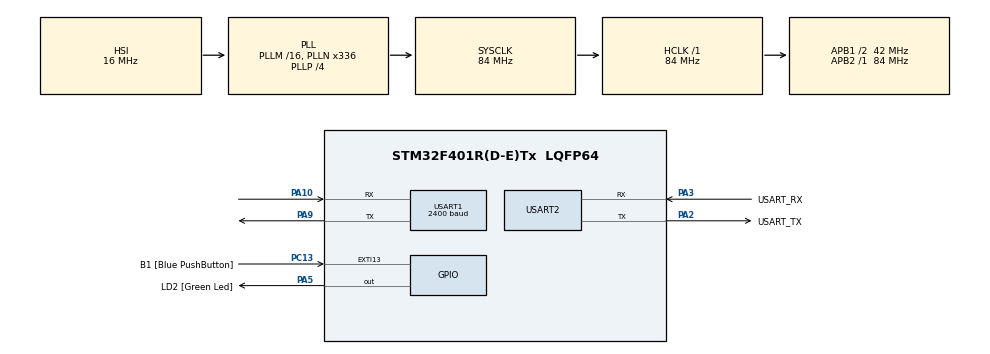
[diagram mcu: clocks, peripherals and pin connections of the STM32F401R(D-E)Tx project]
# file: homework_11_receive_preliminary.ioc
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Mcu.Family=STM32F4
Mcu.Name=STM32F401R(D-E)Tx
Mcu.Package=LQFP64
NVIC.PriorityGroup=NVIC_PRIORITYGROUP_0
NVIC.USART1_IRQn=true\:0\:0\:false\:false\:true\:true\:true\:true
NVIC.USART2_IRQn=true\:0\:0\:false\:false\:true\:true\:true\:true
PA10.Mode=Asynchronous
PA10.Signal=USART1_RX
PA13.GPIO_Label=TMS
PA13.Mode=Serial_Wire
PA13.Signal=SYS_JTMS-SWDIO
PA14.GPIO_Label=TCK
PA14.Mode=Serial_Wire
PA14.Signal=SYS_JTCK-SWCLK
PA2.GPIO_Label=USART_TX
PA2.GPIO_Mode=GPIO_MODE_AF_PP
PA2.GPIO_PuPd=GPIO_NOPULL
PA2.GPIO_Speed=GPIO_SPEED_FREQ_LOW
PA2.Mode=Asynchronous
PA2.Signal=USART2_TX
PA3.GPIO_Label=USART_RX
PA3.GPIO_Mode=GPIO_MODE_AF_PP
PA3.GPIO_PuPd=GPIO_NOPULL
PA3.GPIO_Speed=GPIO_SPEED_FREQ_LOW
PA3.Mode=Asynchronous
PA3.Signal=USART2_RX
PA5.GPIO_Label=LD2 [Green Led]
PA5.GPIO_Mode=GPIO_MODE_OUTPUT_PP
PA5.GPIO_PuPd=GPIO_NOPULL
PA5.GPIO_Speed=GPIO_SPEED_FREQ_LOW
PA5.Signal=GPIO_Output
PA9.Mode=Asynchronous
PA9.Signal=USART1_TX
PB3.GPIO_Label=SWO
PB3.Signal=SYS_JTDO-SWO
PC13-ANTI_TAMP.GPIO_Label=B1 [Blue PushButton]
PC13-ANTI_TAMP.GPIO_ModeDefaultEXTI=GPIO_MODE_IT_FALLING
PC13-ANTI_TAMP.GPIO_PuPd=GPIO_NOPULL
PC13-ANTI_TAMP.Signal=GPXTI13
PC14-OSC32_IN.Mode=LSE-External-Oscillator
PC14-OSC32_IN.Signal=RCC_OSC32_IN
PC15-OSC32_OUT.Mode=LSE-External-Oscillator
PC15-OSC32_OUT.Signal=RCC_OSC32_OUT
PH0\ -\ OSC_IN.Mode=HSE-External-Clock-Source
PH0\ -\ OSC_IN.Signal=RCC_OSC_IN
PH1\ -\ OSC_OUT.Mode=HSE-External-Clock-Source
PH1\ -\ OSC_OUT.Signal=RCC_OSC_OUT
ProjectManager.HeapSize=0x200
ProjectManager.StackSize=0x400
ProjectManager.TargetToolchain=STM32CubeIDE
RCC.48MHZClocksFreq_Value=48000000
RCC.AHBFreq_Value=84000000
RCC.APB1CLKDivider=RCC_HCLK_DIV2
RCC.APB1Freq_Value=42000000
RCC.APB1TimFreq_Value=84000000
RCC.APB2Freq_Value=84000000
RCC.APB2TimFreq_Value=84000000
RCC.CortexFreq_Value=84000000
RCC.HCLKFreq_Value=84000000
RCC.HSE_VALUE=8000000
RCC.HSI_VALUE=16000000
RCC.PLLN=336
RCC.PLLP=RCC_PLLP_DIV4
RCC.PLLQ=7
RCC.SYSCLKFreq_VALUE=84000000
RCC.SYSCLKSource=RCC_SYSCLKSOURCE_PLLCLK
RCC.VCOOutputFreq_Value=336000000
USART1.BaudRate=2400
USART1.VirtualMode=VM_ASYNC
USART2.VirtualMode=VM_ASYNC
board=NUCLEO-F401RE

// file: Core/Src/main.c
/* USER CODE BEGIN Header */
/**
  ******************************************************************************
  * @file           : main.c
  * @brief          : Main program body
  ******************************************************************************
  * @attention
  *
  * Copyright (c) 2022 STMicroelectronics.
  * All rights reserved.
  *
  * This software is licensed under terms that can be found in the LICENSE file
  * in the root directory of this software component.
  * If no LICENSE file comes with this software, it is provided AS-IS.
  *
  ******************************************************************************
  */
/* USER CODE END Header */
#include "main.h"

UART_HandleTypeDef huart1;
UART_HandleTypeDef huart2;

void SystemClock_Config(void);
static void MX_GPIO_Init(void);
static void MX_USART2_UART_Init(void);
static void MX_USART1_UART_Init(void);

/* USER CODE BEGIN 0 */
// Data, which should be received
char RX_data = 0;
// Storing the data
char command = 0;
// A flag to show if we have received data
uint8_t RX_flag = 0;

void HAL_UART_RxCpltCallback (UART_HandleTypeDef *huart) {
	// We receive the data, that the other group have transmitted
	HAL_UART_Receive_IT(&huart1, &RX_data, sizeof(RX_data));	//Change to &huart2 and use putty for step 1
	command = RX_data;
	// We acknowledge that we have received a byte form UART
	RX_flag = 1;
}
/* USER CODE END 0 */

int main(void)
{

  /* MCU Configuration--------------------------------------------------------*/

  /* Reset of all peripherals, Initializes the Flash interface and the Systick. */
  HAL_Init();

  /* Configure the system clock */
  SystemClock_Config();

  /* Initialize all configured peripherals */
  MX_GPIO_Init();
  MX_USART2_UART_Init();
  MX_USART1_UART_Init();
  /* USER CODE BEGIN 2 */
  // We start the receiving interrupt
  HAL_UART_Receive_IT(&huart1, &RX_data, sizeof(RX_data));	//Change to &huart2 and use putty for step 1
  /* USER CODE END 2 */

  /* Infinite loop */
  while (1)
  {

    /* USER CODE BEGIN 3 */
	  if(RX_flag == 1) {
		  if(command == '1') {
			  // Turn on the LED, when '1' is received
			  HAL_GPIO_WritePin(GPIOA, GPIO_PIN_5, GPIO_PIN_SET);
		  }
		  else if(command == '0') {
			  // Turn off the LED, when '0' is received
			  HAL_GPIO_WritePin(GPIOA, GPIO_PIN_5, GPIO_PIN_RESET);
		  }
		  // Send the received data
		  HAL_UART_Transmit_IT(&huart2, &command, sizeof(command));
		  // We reset the ackowledgement of the data
		  RX_flag = 0;
	  }
  }
  /* USER CODE END 3 */
}

void SystemClock_Config(void)
{
  RCC_OscInitTypeDef RCC_OscInitStruct = {0};
  RCC_ClkInitTypeDef RCC_ClkInitStruct = {0};

  /** Configure the main internal regulator output voltage
  */
  __HAL_RCC_PWR_CLK_ENABLE();
  __HAL_PWR_VOLTAGESCALING_CONFIG(PWR_REGULATOR_VOLTAGE_SCALE2);

  /** Initializes the RCC Oscillators according to the specified parameters
  * in the RCC_OscInitTypeDef structure.
  */
  RCC_OscInitStruct.OscillatorType = RCC_OSCILLATORTYPE_HSI;
  RCC_OscInitStruct.HSIState = RCC_HSI_ON;
  RCC_OscInitStruct.HSICalibrationValue = RCC_HSICALIBRATION_DEFAULT;
  RCC_OscInitStruct.PLL.PLLState = RCC_PLL_ON;
  RCC_OscInitStruct.PLL.PLLSource = RCC_PLLSOURCE_HSI;
  RCC_OscInitStruct.PLL.PLLM = 16;
  RCC_OscInitStruct.PLL.PLLN = 336;
  RCC_OscInitStruct.PLL.PLLP = RCC_PLLP_DIV4;
  RCC_OscInitStruct.PLL.PLLQ = 7;
  if (HAL_RCC_OscConfig(&RCC_OscInitStruct) != HAL_OK)
  {
    Error_Handler();
  }

  /** Initializes the CPU, AHB and APB buses clocks
  */
  RCC_ClkInitStruct.ClockType = RCC_CLOCKTYPE_HCLK|RCC_CLOCKTYPE_SYSCLK
                              |RCC_CLOCKTYPE_PCLK1|RCC_CLOCKTYPE_PCLK2;
  RCC_ClkInitStruct.SYSCLKSource = RCC_SYSCLKSOURCE_PLLCLK;
  RCC_ClkInitStruct.AHBCLKDivider = RCC_SYSCLK_DIV1;
  RCC_ClkInitStruct.APB1CLKDivider = RCC_HCLK_DIV2;
  RCC_ClkInitStruct.APB2CLKDivider = RCC_HCLK_DIV1;

  if (HAL_RCC_ClockConfig(&RCC_ClkInitStruct, FLASH_LATENCY_2) != HAL_OK)
  {
    Error_Handler();
  }
}

static void MX_USART1_UART_Init(void)
{

  huart1.Instance = USART1;
  huart1.Init.BaudRate = 2400;
  huart1.Init.WordLength = UART_WORDLENGTH_8B;
  huart1.Init.StopBits = UART_STOPBITS_1;
  huart1.Init.Parity = UART_PARITY_NONE;
  huart1.Init.Mode = UART_MODE_TX_RX;
  huart1.Init.HwFlowCtl = UART_HWCONTROL_NONE;
  huart1.Init.OverSampling = UART_OVERSAMPLING_16;
  if (HAL_UART_Init(&huart1) != HAL_OK)
  {
    Error_Handler();
  }

}

static void MX_USART2_UART_Init(void)
{

  huart2.Instance = USART2;
  huart2.Init.BaudRate = 115200;
  huart2.Init.WordLength = UART_WORDLENGTH_8B;
  huart2.Init.StopBits = UART_STOPBITS_1;
  huart2.Init.Parity = UART_PARITY_NONE;
  huart2.Init.Mode = UART_MODE_TX_RX;
  huart2.Init.HwFlowCtl = UART_HWCONTROL_NONE;
  huart2.Init.OverSampling = UART_OVERSAMPLING_16;
  if (HAL_UART_Init(&huart2) != HAL_OK)
  {
    Error_Handler();
  }

}

static void MX_GPIO_Init(void)
{
  GPIO_InitTypeDef GPIO_InitStruct = {0};

  /* GPIO Ports Clock Enable */
  __HAL_RCC_GPIOC_CLK_ENABLE();
  __HAL_RCC_GPIOH_CLK_ENABLE();
  __HAL_RCC_GPIOA_CLK_ENABLE();
  __HAL_RCC_GPIOB_CLK_ENABLE();

  /*Configure GPIO pin Output Level */
  HAL_GPIO_WritePin(LD2_GPIO_Port, LD2_Pin, GPIO_PIN_RESET);

  /*Configure GPIO pin : B1_Pin */
  GPIO_InitStruct.Pin = B1_Pin;
  GPIO_InitStruct.Mode = GPIO_MODE_IT_FALLING;
  GPIO_InitStruct.Pull = GPIO_NOPULL;
  HAL_GPIO_Init(B1_GPIO_Port, &GPIO_InitStruct);

  /*Configure GPIO pin : LD2_Pin */
  GPIO_InitStruct.Pin = LD2_Pin;
  GPIO_InitStruct.Mode = GPIO_MODE_OUTPUT_PP;
  GPIO_InitStruct.Pull = GPIO_NOPULL;
  GPIO_InitStruct.Speed = GPIO_SPEED_FREQ_LOW;
  HAL_GPIO_Init(LD2_GPIO_Port, &GPIO_InitStruct);

}

void Error_Handler(void)
{
  __disable_irq();
  while (1)
  {
  }
}
